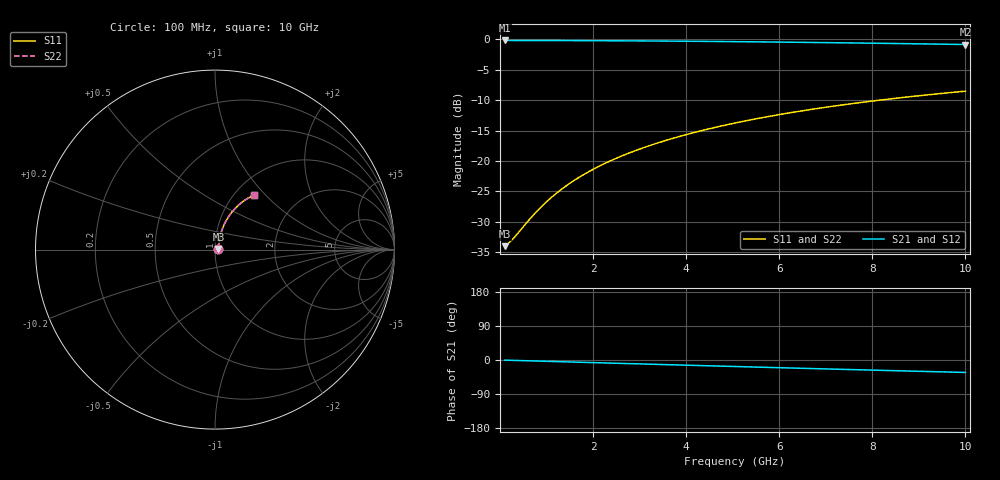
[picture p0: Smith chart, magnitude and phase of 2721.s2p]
# Hz S RI R 50.00
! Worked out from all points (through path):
!   100 points, 100 MHz to 10 GHz, reference 50 ohm
!   highest |S21| = -0.17 dB at 100 MHz (marker M1); lowest = -0.8 dB at 10 GHz (marker M2)
!   group delay of S21, straight-line fit = 9.15 ps
!   lowest |S11| = -34.0 dB at 100 MHz (marker M3), VSWR 1.04, Z = 52 + j0.421 ohm
!   |S11| at or under -10 dB: start of sweep to 8.154 GHz
!   |S22| runs from -34.0 to -8.5 dB; largest |S21 - S12| = 0
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1e8  0.0195 0.00405  0.9805 -0.0059  0.9805 -0.0059  0.0195 0.00405
2e8  0.0197 0.00809  0.9803 -0.0118  0.9803 -0.0118  0.0197 0.00809
3e8  0.0199 0.0121  0.9801 -0.0177  0.9801 -0.0177  0.0199 0.0121
7e8  0.0211 0.0283  0.9788 -0.0412  0.9788 -0.0412  0.0211 0.0283
8e8  0.0215 0.0323  0.9783 -0.0471  0.9783 -0.0471  0.0215 0.0323
1e9  0.0225 0.0403  0.9773 -0.0589  0.9773 -0.0589  0.0225 0.0403
1.2e9  0.0236 0.0483  0.9761 -0.0706  0.9761 -0.0706  0.0236 0.0483
1.4e9  0.0249 0.0562  0.9747 -0.0822  0.9747 -0.0822  0.0249 0.0562
1.6e9  0.0265 0.0641  0.9731 -0.0938  0.9731 -0.0938  0.0265 0.0641
1.8e9  0.0281 0.072  0.9713 -0.1054  0.9713 -0.1054  0.0281 0.072
2.1e9  0.031 0.0837  0.9682 -0.1227  0.9682 -0.1227  0.031 0.0837
2.5e9  0.0355 0.0991  0.9634 -0.1455  0.9634 -0.1455  0.0355 0.0991
2.9e9  0.0407 0.1142  0.9578 -0.1681  0.9578 -0.1681  0.0407 0.1142
3.4e9  0.0481 0.1326  0.9499 -0.1958  0.9499 -0.1958  0.0481 0.1326
3.8e9  0.0548 0.147  0.9427 -0.2176  0.9427 -0.2176  0.0548 0.147
4.2e9  0.0621 0.1609  0.9348 -0.239  0.9348 -0.239  0.0621 0.1609
5.1e9  0.0807 0.1906  0.9147 -0.2856  0.9147 -0.2856  0.0807 0.1906
5.9e9  0.0995 0.215  0.8943 -0.325  0.8943 -0.325  0.0995 0.215
6.7e9  0.1201 0.2373  0.8718 -0.3623  0.8718 -0.3623  0.1201 0.2373
7.5e9  0.1424 0.2573  0.8476 -0.3974  0.8476 -0.3974  0.1424 0.2573
8.4e9  0.1689 0.277  0.8184 -0.4341  0.8184 -0.4341  0.1689 0.277
1e10  0.2189 0.3045  0.763 -0.4921  0.763 -0.4921  0.2189 0.3045
